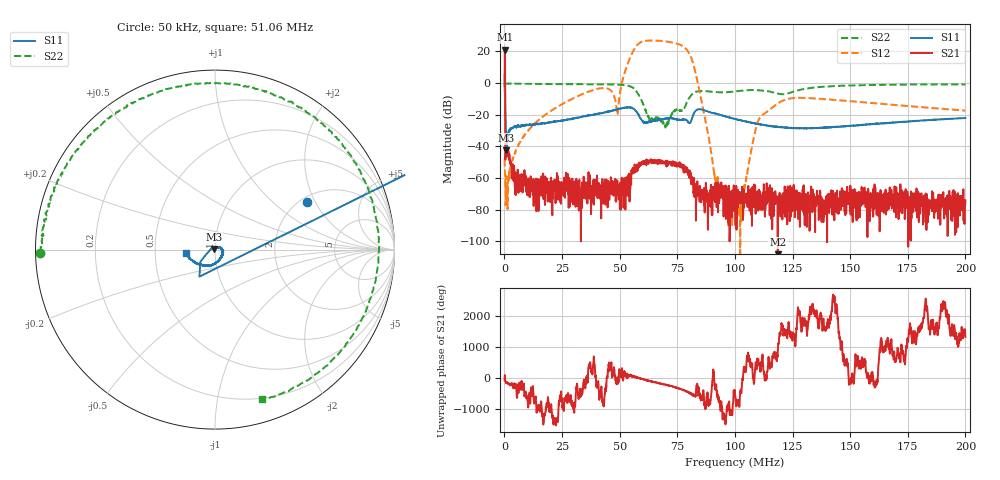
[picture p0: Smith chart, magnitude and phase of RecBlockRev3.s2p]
! 19-Feb-26 3:19:24 PM
! E:\VNA_MEASUREMENTS\RECBLOCK\RECBLOCKREV3.S2P
! CHANNEL.1
! TR.MEASUREMENT
! CORRECTED.DATA
# GHZ S RI R 50.0
! FREQ.GHZ  S11RE  S11IM  S21RE  S21IM  S12RE  S12IM  S22RE  S22IM
!; PortSelection: Port_12
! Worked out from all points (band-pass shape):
!   2000 points, 50 kHz to 200 MHz, reference 50 ohm
!   highest |S21| = 21.07 dB at 150 kHz (marker M1); lowest = -123.0 dB at 118.6 MHz (marker M2)
!   |S21| within 3 dB of the highest: 136.8 kHz to 176.6 kHz (39.81 kHz wide, 25.4 % of centre)
!   lowest |S11| = -42.4 dB at 850.2 kHz (marker M3), VSWR 1.02, Z = 49.4 + j0.411 ohm
!   |S11| at or under -10 dB: 318.2 kHz to end of sweep
!   |S22| runs from -28.1 to -0.2 dB; largest |S21 - S12| = 22
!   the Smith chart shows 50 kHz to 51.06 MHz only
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5e-05  0.5104 0.2672  0.4018 -0.7188  0.00387 0.000592  -0.9775 -0.0165
0.000150025  1.752 0.746  -3.272 10.82  0.00156 0.0013  -0.9692 0.0142
0.0008502  -0.00638 0.00416  -0.00295 -0.00368  -0.000166 -0.000137  -0.9626 0.0544
0.03345835  -0.014 -0.084  -7.06e-05 -8.4e-05  0.0696 0.4333  0.551 0.74
0.05366341  -0.1625 0.05  -9.8e-05 0.0011  -1.381 4.262  -0.2414 -0.79
0.05676418  -0.082 0.1103  0.00115 0.00103  9.409 9.519  -0.5862 -0.1526
0.05926481  -0.0292 0.0646  0.00258 -0.000512  19.08 -5.325  -0.2325 0.1878
0.06116528  -0.0385 0.0408  0.00218 -0.0028  11.98 -18  -0.011 0.137
0.06276568  -0.0481 0.038  0.000521 -0.00305  1.22 -22.05  0.0553 0.0518
0.06676668  -0.0552 0.041  -0.00287 -0.00133  -20.01 -8.625  0.0206 -0.0723
0.06926731  -0.0563 0.0467  -0.00317 0.000584  -19.72 7.166  -0.000192 -0.0472
0.07206801  -0.0506 0.0588  -0.00136 0.00271  -6.009 18.72  0.0494 -0.0741
0.07406851  -0.0434 0.0596  0.000854 0.00288  7.333 16.75  0.0246 -0.1346
0.07626906  -0.0389 0.0577  0.00241 0.000712  15.71 3.99  -0.0167 -0.1365
0.07876969  -0.0338 0.0588  0.00139 -0.00167  6.012 -10.56  0.0114 -0.2166
0.08107026  -0.0575 0.0336  -0.000478 -0.000414  -5.164 -3.47  -0.2174 -0.3555
0.08307076  -0.0909 0.1012  -1.71e-05 -4.19e-05  -1.425 1.2  -0.5054 -0.1699
0.100075  0.0685 0.0272  -0.00022 -1.39e-05  0.000109 -7.97e-05  -0.1304 -0.5322
0.1185796  0.031 -0.0272  -1e-07 7e-07  0.2148 0.0766  0.3534 -0.3021
0.1333833  -0.00198 -0.0371  -0.000216 4.58e-05  -0.0519 -0.3275  0.1785 0.6868
0.1666917  -0.0536 -0.013  8.45e-05 6.06e-05  -0.2032 0.0579  0.253 -0.8467
0.2  -0.0681 0.0404  -3.4e-05 -0.000194  -0.0494 0.1252  -0.6943 -0.5882
